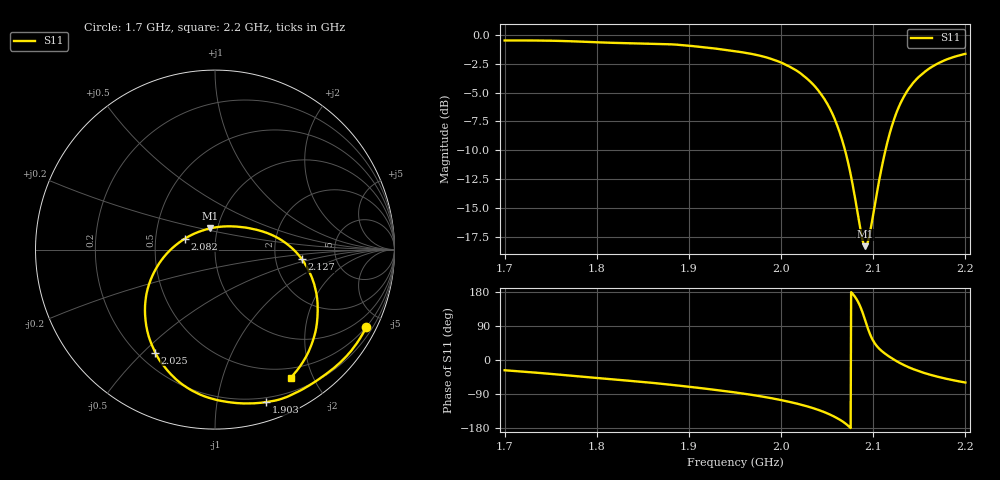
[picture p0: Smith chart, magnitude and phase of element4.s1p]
# Hz S RI R 50
! CMT, CMT808U, 21440046, 21.4.3/4
! Date: 12/1/2025 1:27:59 PM
! Data: Format (Calibration Info)
! Freq	S11:Re/Im(F2)
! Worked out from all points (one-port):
!   1001 points, 1.7 GHz to 2.2 GHz, reference 50 ohm
!   lowest |S11| = -18.3 dB at 2.091 GHz (marker M1), VSWR 1.28, Z = 46.1 + j11.1 ohm
!   |S11| at or under -10 dB: 2.069 GHz to 2.113 GHz (43.83 MHz wide, 2.1 % of centre)
!   S11 on the Smith chart (normalised r, x): 1.7 GHz: 0.49, -4.11; 1.903 GHz: 0.16, -1.38; 2.025 GHz: 0.27, -0.54; 2.082 GHz: 0.71, +0.09; 2.127 GHz: 2.83, -0.38; 2.2 GHz: 0.37, -1.69
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1.7e9  0.8441 -0.4307
1.7625e9  0.7292 -0.5973
1.825e9  0.5601 -0.7346
1.864e9  0.4411 -0.802
1.8875e9  0.3523 -0.837
1.9035e9  0.2838 -0.8501
1.95e9  0.0662 -0.8483
1.9835e9  -0.1141 -0.7933
1.998e9  -0.196 -0.7404
2.0125e9  -0.2732 -0.6634
2.025e9  -0.3329 -0.5734
2.0405e9  -0.3823 -0.4283
2.0535e9  -0.3864 -0.2763
2.0655e9  -0.337 -0.1214
2.075e9  -0.2539 -0.00693
2.082e9  -0.168 0.0611
2.0875e9  -0.0886 0.0998
2.0915e9  -0.0272 0.1182
2.0935e9  0.00427 0.1243
2.096e9  0.0439 0.1286
2.1105e9  0.2633 0.1016
2.1185e9  0.379 0.0472
2.1275e9  0.4823 -0.0511
2.1375e9  0.5482 -0.1791
2.1505e9  0.5721 -0.3368
2.1675e9  0.5465 -0.5038
2.184e9  0.4896 -0.6266
2.2e9  0.4216 -0.7142
